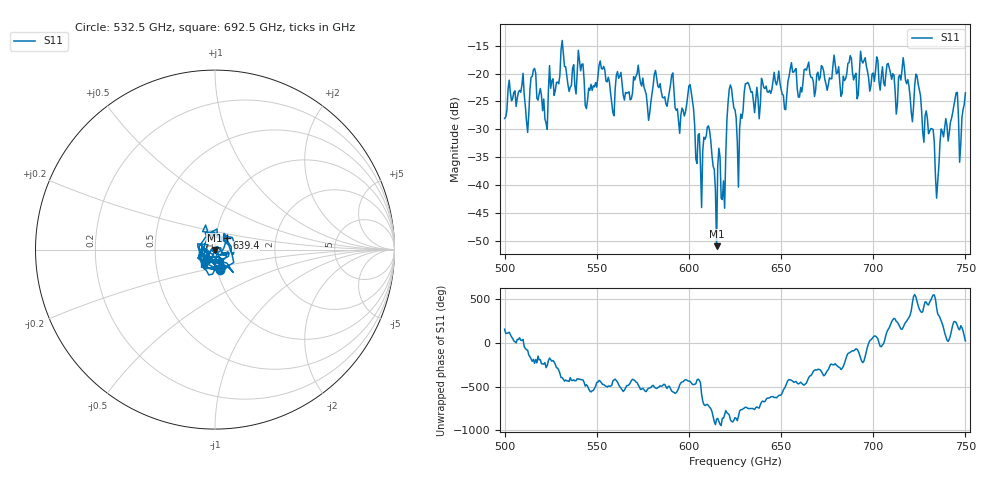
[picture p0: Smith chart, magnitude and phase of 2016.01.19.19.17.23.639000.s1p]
!Created with skrf (http://scikit-rf.org).
# GHz S RI R 50.0
!freq ReS11 ImS11
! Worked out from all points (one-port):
!   401 points, 500 GHz to 750 GHz, reference 50 ohm
!   lowest |S11| = -51.0 dB at 615 GHz (marker M1), VSWR 1.01, Z = 49.8 - j0.144 ohm
!   |S11| at or under -10 dB: start of sweep to end of sweep
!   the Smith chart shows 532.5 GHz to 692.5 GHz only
!   S11 on the Smith chart (normalised r, x): 532.5 GHz: 1.03, -0.23; 639.4 GHz: 1.13, +0.14; 692.5 GHz: 0.87, -0.14
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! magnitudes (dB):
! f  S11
! 500 GHz  -28.0
! 508.8 GHz  -23.3
! 512.5 GHz  -30.5
! 515.6 GHz  -19.3
! 521.9 GHz  -28.1
! 531.2 GHz  -14.0
! 532.5 GHz  -18.7
! 545 GHz  -24.8
! 562.5 GHz  -20.4
! 578.1 GHz  -28.4
! 590.6 GHz  -20.3
! 593.8 GHz  -26.3
! 600.6 GHz  -22.0
! 605.6 GHz  -30.8
! 610.6 GHz  -29.4
! 615 GHz  -51.0
! 618.8 GHz  -39.3
! 621.9 GHz  -22.8
! 625 GHz  -26.5
! 627.5 GHz  -29.9
! 639.4 GHz  -20.8
! 656.2 GHz  -19.7
! 687.5 GHz  -16.8
! 692.5 GHz  -19.7
! 718.8 GHz  -21.1
! 724.4 GHz  -21.9
! 734.4 GHz  -42.4
! 750 GHz  -23.5
